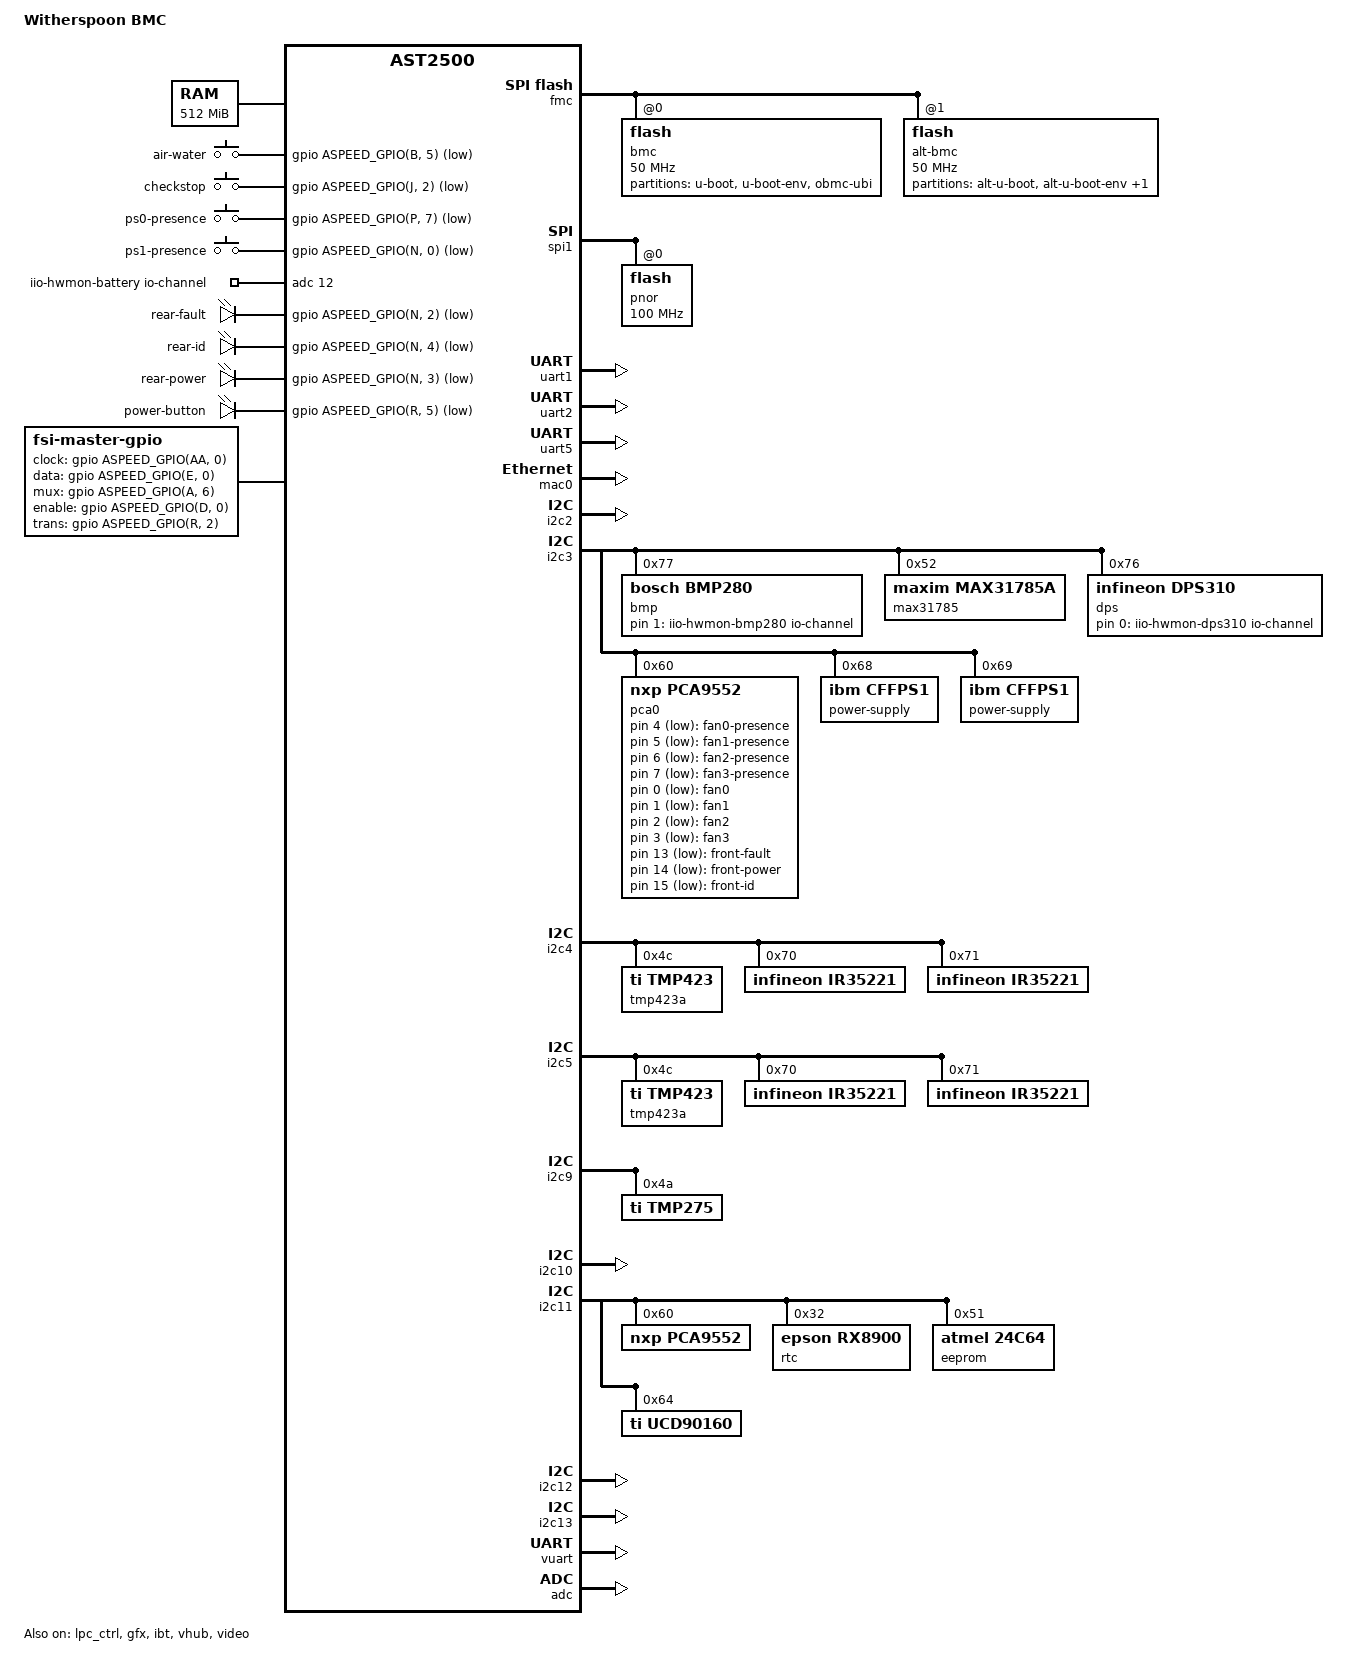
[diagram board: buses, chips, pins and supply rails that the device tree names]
// SPDX-License-Identifier: GPL-2.0+
/dts-v1/;
#include "aspeed-g5.dtsi"
#include <dt-bindings/gpio/aspeed-gpio.h>
#include <dt-bindings/leds/leds-pca955x.h>

/ {
	model = "Witherspoon BMC";
	compatible = "ibm,witherspoon-bmc", "aspeed,ast2500";

	chosen {
		stdout-path = &uart5;
		bootargs = "console=ttyS4,115200 earlyprintk";
	};

	memory@80000000 {
		reg = <0x80000000 0x20000000>;
	};

	reserved-memory {
		#address-cells = <1>;
		#size-cells = <1>;
		ranges;

		flash_memory: region@98000000 {
			no-map;
			reg = <0x98000000 0x04000000>; /* 64M */
		};

		gfx_memory: framebuffer {
			size = <0x01000000>;
			alignment = <0x01000000>;
			compatible = "shared-dma-pool";
			reusable;
		};

		video_engine_memory: jpegbuffer {
			size = <0x02000000>;	/* 32MM */
			alignment = <0x01000000>;
			compatible = "shared-dma-pool";
			reusable;
		};
	};

	gpio-keys {
		compatible = "gpio-keys";

		air-water {
			label = "air-water";
			gpios = <&gpio ASPEED_GPIO(B, 5) GPIO_ACTIVE_LOW>;
			linux,code = <ASPEED_GPIO(B, 5)>;
		};

		checkstop {
			label = "checkstop";
			gpios = <&gpio ASPEED_GPIO(J, 2) GPIO_ACTIVE_LOW>;
			linux,code = <ASPEED_GPIO(J, 2)>;
		};

		ps0-presence {
			label = "ps0-presence";
			gpios = <&gpio ASPEED_GPIO(P, 7) GPIO_ACTIVE_LOW>;
			linux,code = <ASPEED_GPIO(P, 7)>;
		};

		ps1-presence {
			label = "ps1-presence";
			gpios = <&gpio ASPEED_GPIO(N, 0) GPIO_ACTIVE_LOW>;
			linux,code = <ASPEED_GPIO(N, 0)>;
		};
	};

	iio-hwmon-battery {
		compatible = "iio-hwmon";
		io-channels = <&adc 12>;
	};

	gpio-keys-polled {
		compatible = "gpio-keys-polled";
		poll-interval = <1000>;

		fan0-presence {
			label = "fan0-presence";
			gpios = <&pca0 4 GPIO_ACTIVE_LOW>;
			linux,code = <4>;
		};

		fan1-presence {
			label = "fan1-presence";
			gpios = <&pca0 5 GPIO_ACTIVE_LOW>;
			linux,code = <5>;
		};

		fan2-presence {
			label = "fan2-presence";
			gpios = <&pca0 6 GPIO_ACTIVE_LOW>;
			linux,code = <6>;
		};

		fan3-presence {
			label = "fan3-presence";
			gpios = <&pca0 7 GPIO_ACTIVE_LOW>;
			linux,code = <7>;
		};
	};

	leds {
		compatible = "gpio-leds";

		fan0 {
			retain-state-shutdown;
			default-state = "keep";
			gpios = <&pca0 0 GPIO_ACTIVE_LOW>;
		};

		fan1 {
			retain-state-shutdown;
			default-state = "keep";
			gpios = <&pca0 1 GPIO_ACTIVE_LOW>;
		};

		fan2 {
			retain-state-shutdown;
			default-state = "keep";
			gpios = <&pca0 2 GPIO_ACTIVE_LOW>;
		};

		fan3 {
			retain-state-shutdown;
			default-state = "keep";
			gpios = <&pca0 3 GPIO_ACTIVE_LOW>;
		};

		front-fault {
			retain-state-shutdown;
			default-state = "keep";
			gpios = <&pca0 13 GPIO_ACTIVE_LOW>;
		};

		front-power {
			retain-state-shutdown;
			default-state = "keep";
			gpios = <&pca0 14 GPIO_ACTIVE_LOW>;
		};

		front-id {
			retain-state-shutdown;
			default-state = "keep";
			gpios = <&pca0 15 GPIO_ACTIVE_LOW>;
		};

		rear-fault {
			gpios = <&gpio ASPEED_GPIO(N, 2) GPIO_ACTIVE_LOW>;
		};

		rear-id {
			gpios = <&gpio ASPEED_GPIO(N, 4) GPIO_ACTIVE_LOW>;
		};

		rear-power {
			gpios = <&gpio ASPEED_GPIO(N, 3) GPIO_ACTIVE_LOW>;
		};

		power-button {
			gpios = <&gpio ASPEED_GPIO(R, 5) GPIO_ACTIVE_LOW>;
		};
	};

	fsi: gpio-fsi {
		compatible = "fsi-master-gpio", "fsi-master";
		#address-cells = <2>;
		#size-cells = <0>;
		no-gpio-delays;

		clock-gpios = <&gpio ASPEED_GPIO(AA, 0) GPIO_ACTIVE_HIGH>;
		data-gpios = <&gpio ASPEED_GPIO(E, 0) GPIO_ACTIVE_HIGH>;
		mux-gpios = <&gpio ASPEED_GPIO(A, 6) GPIO_ACTIVE_HIGH>;
		enable-gpios = <&gpio ASPEED_GPIO(D, 0) GPIO_ACTIVE_HIGH>;
		trans-gpios = <&gpio ASPEED_GPIO(R, 2) GPIO_ACTIVE_HIGH>;
	};

	iio-hwmon-dps310 {
		compatible = "iio-hwmon";
		io-channels = <&dps 0>;
	};

	iio-hwmon-bmp280 {
		compatible = "iio-hwmon";
		io-channels = <&bmp 1>;
	};

};

&fmc {
	status = "okay";

	flash@0 {
		status = "okay";
		label = "bmc";
		m25p,fast-read;
		spi-max-frequency = <50000000>;

		partitions {
			#address-cells = < 1 >;
			#size-cells = < 1 >;
			compatible = "fixed-partitions";
			u-boot@0 {
				reg = < 0 0x60000 >;
				label = "u-boot";
			};
			u-boot-env@60000 {
				reg = < 0x60000 0x20000 >;
				label = "u-boot-env";
			};
			obmc-ubi@80000 {
				reg = < 0x80000 0x1F80000 >;
				label = "obmc-ubi";
			};
		};
	};

	flash@1 {
		status = "okay";
		label = "alt-bmc";
		m25p,fast-read;
		spi-max-frequency = <50000000>;

		partitions {
			#address-cells = < 1 >;
			#size-cells = < 1 >;
			compatible = "fixed-partitions";
			u-boot@0 {
				reg = < 0 0x60000 >;
				label = "alt-u-boot";
			};
			u-boot-env@60000 {
				reg = < 0x60000 0x20000 >;
				label = "alt-u-boot-env";
			};
			obmc-ubi@80000 {
				reg = < 0x80000 0x1F80000 >;
				label = "alt-obmc-ubi";
			};
		};
	};
};

&spi1 {
	status = "okay";
	pinctrl-names = "default";
	pinctrl-0 = <&pinctrl_spi1_default>;

	flash@0 {
		status = "okay";
		label = "pnor";
		m25p,fast-read;
		spi-max-frequency = <100000000>;
	};
};

&uart1 {
	/* Rear RS-232 connector */
	status = "okay";
	pinctrl-names = "default";
	pinctrl-0 = <&pinctrl_txd1_default
			&pinctrl_rxd1_default
			&pinctrl_nrts1_default
			&pinctrl_ndtr1_default
			&pinctrl_ndsr1_default
			&pinctrl_ncts1_default
			&pinctrl_ndcd1_default
			&pinctrl_nri1_default>;
};

&uart2 {
	/* APSS */
	status = "okay";
	pinctrl-names = "default";
	pinctrl-0 = <&pinctrl_txd2_default &pinctrl_rxd2_default>;
};

&uart5 {
	status = "okay";
};

&lpc_ctrl {
	status = "okay";
	memory-region = <&flash_memory>;
	flash = <&spi1>;
};

&mac0 {
	status = "okay";
	pinctrl-names = "default";
	pinctrl-0 = <&pinctrl_rmii1_default>;
	clocks = <&syscon ASPEED_CLK_GATE_MAC1CLK>,
		 <&syscon ASPEED_CLK_MAC1RCLK>;
	clock-names = "MACCLK", "RCLK";
	use-ncsi;
};

&i2c2 {
	status = "okay";

	/* MUX ->
	 *    Samtec 1
	 *    Samtec 2
	 */
};

&i2c3 {
	status = "okay";

	bmp: bmp280@77 {
		compatible = "bosch,bmp280";
		reg = <0x77>;
		#io-channel-cells = <1>;
	};

	max31785@52 {
		compatible = "maxim,max31785a";
		reg = <0x52>;
		#address-cells = <1>;
		#size-cells = <0>;
	};

	dps: dps310@76 {
		compatible = "infineon,dps310";
		reg = <0x76>;
		#io-channel-cells = <0>;
	};

	pca0: pca9552@60 {
		compatible = "nxp,pca9552";
		reg = <0x60>;
		#address-cells = <1>;
		#size-cells = <0>;

		gpio-controller;
		#gpio-cells = <2>;

		gpio@0 {
			reg = <0>;
			type = <PCA955X_TYPE_GPIO>;
		};

		gpio@1 {
			reg = <1>;
			type = <PCA955X_TYPE_GPIO>;
		};

		gpio@2 {
			reg = <2>;
			type = <PCA955X_TYPE_GPIO>;
		};

		gpio@3 {
			reg = <3>;
			type = <PCA955X_TYPE_GPIO>;
		};

		gpio@4 {
			reg = <4>;
			type = <PCA955X_TYPE_GPIO>;
		};

		gpio@5 {
			reg = <5>;
			type = <PCA955X_TYPE_GPIO>;
		};

		gpio@6 {
			reg = <6>;
			type = <PCA955X_TYPE_GPIO>;
		};

		gpio@7 {
			reg = <7>;
			type = <PCA955X_TYPE_GPIO>;
		};

		gpio@8 {
			reg = <8>;
			type = <PCA955X_TYPE_GPIO>;
		};

		gpio@9 {
			reg = <9>;
			type = <PCA955X_TYPE_GPIO>;
		};

		gpio@10 {
			reg = <10>;
			type = <PCA955X_TYPE_GPIO>;
		};

		gpio@11 {
			reg = <11>;
			type = <PCA955X_TYPE_GPIO>;
		};

		gpio@12 {
			reg = <12>;
			type = <PCA955X_TYPE_GPIO>;
		};

		gpio@13 {
			reg = <13>;
			type = <PCA955X_TYPE_GPIO>;
		};

		gpio@14 {
			reg = <14>;
			type = <PCA955X_TYPE_GPIO>;
		};

		gpio@15 {
			reg = <15>;
			type = <PCA955X_TYPE_GPIO>;
		};
	};

	power-supply@68 {
		compatible = "ibm,cffps1";
		reg = <0x68>;
	};

	power-supply@69 {
		compatible = "ibm,cffps1";
		reg = <0x69>;
	};
};

&i2c4 {
	status = "okay";

	tmp423a@4c {
		compatible = "ti,tmp423";
		reg = <0x4c>;
	};

	ir35221@70 {
		compatible = "infineon,ir35221";
		reg = <0x70>;
	};

	ir35221@71 {
		compatible = "infineon,ir35221";
		reg = <0x71>;
	};
};


&i2c5 {
	status = "okay";

	tmp423a@4c {
		compatible = "ti,tmp423";
		reg = <0x4c>;
	};

	ir35221@70 {
		compatible = "infineon,ir35221";
		reg = <0x70>;
	};

	ir35221@71 {
		compatible = "infineon,ir35221";
		reg = <0x71>;
	};
};

&i2c9 {
	status = "okay";

	tmp275@4a {
		compatible = "ti,tmp275";
		reg = <0x4a>;
	};
};

&i2c10 {
	/* MUX
	 *   -> PCIe Slot 3
	 *   -> PCIe Slot 4
	 */
	status = "okay";
};

&i2c11 {
	status = "okay";

	pca9552: pca9552@60 {
		compatible = "nxp,pca9552";
		reg = <0x60>;
		#address-cells = <1>;
		#size-cells = <0>;
		gpio-controller;
		#gpio-cells = <2>;

		gpio-line-names = "PS_SMBUS_RESET_N", "APSS_RESET_N",
			"GPU0_TH_OVERT_N_BUFF",	"GPU1_TH_OVERT_N_BUFF",
			"GPU2_TH_OVERT_N_BUFF", "GPU3_TH_OVERT_N_BUFF",
			"GPU4_TH_OVERT_N_BUFF",	"GPU5_TH_OVERT_N_BUFF",
			"GPU0_PWR_GOOD_BUFF", "GPU1_PWR_GOOD_BUFF",
			"GPU2_PWR_GOOD_BUFF", "GPU3_PWR_GOOD_BUFF",
			"GPU4_PWR_GOOD_BUFF", "GPU5_PWR_GOOD_BUFF",
			"12V_BREAKER_FLT_N", "THROTTLE_UNLATCHED_N";

		gpio@0 {
			reg = <0>;
			type = <PCA955X_TYPE_GPIO>;
		};

		gpio@1 {
			reg = <1>;
			type = <PCA955X_TYPE_GPIO>;
		};

		gpio@2 {
			reg = <2>;
			type = <PCA955X_TYPE_GPIO>;
		};

		gpio@3 {
			reg = <3>;
			type = <PCA955X_TYPE_GPIO>;
		};

		gpio@4 {
			reg = <4>;
			type = <PCA955X_TYPE_GPIO>;
		};

		gpio@5 {
			reg = <5>;
			type = <PCA955X_TYPE_GPIO>;
		};

		gpio@6 {
			reg = <6>;
			type = <PCA955X_TYPE_GPIO>;
		};

		gpio@7 {
			reg = <7>;
			type = <PCA955X_TYPE_GPIO>;
		};

		gpio@8 {
			reg = <8>;
			type = <PCA955X_TYPE_GPIO>;
		};

		gpio@9 {
			reg = <9>;
			type = <PCA955X_TYPE_GPIO>;
		};

		gpio@10 {
			reg = <10>;
			type = <PCA955X_TYPE_GPIO>;
		};

		gpio@11 {
			reg = <11>;
			type = <PCA955X_TYPE_GPIO>;
		};

		gpio@12 {
			reg = <12>;
			type = <PCA955X_TYPE_GPIO>;
		};

		gpio@13 {
			reg = <13>;
			type = <PCA955X_TYPE_GPIO>;
		};

		gpio@14 {
			reg = <14>;
			type = <PCA955X_TYPE_GPIO>;
		};

		gpio@15 {
			reg = <15>;
			type = <PCA955X_TYPE_GPIO>;
		};
	};

	rtc@32 {
		compatible = "epson,rx8900";
		reg = <0x32>;
	};

	eeprom@51 {
		compatible = "atmel,24c64";
		reg = <0x51>;
	};

	ucd90160@64 {
		compatible = "ti,ucd90160";
		reg = <0x64>;
	};
};

&i2c12 {
	status = "okay";
};

&i2c13 {
	status = "okay";
};

&vuart {
	status = "okay";
};

&gfx {
	status = "okay";
	memory-region = <&gfx_memory>;
};

&pinctrl {
	aspeed,external-nodes = <&gfx &lhc>;
};

&wdt1 {
	aspeed,reset-type = "none";
	aspeed,external-signal;
	aspeed,ext-push-pull;
	aspeed,ext-active-high;

	pinctrl-names = "default";
	pinctrl-0 = <&pinctrl_wdtrst1_default>;
};

&wdt2 {
	aspeed,alt-boot;
};

&ibt {
	status = "okay";
};

&adc {
	status = "okay";
};

&vhub {
	status = "okay";
};

&video {
	status = "okay";
	memory-region = <&video_engine_memory>;
};

#include "ibm-power9-dual.dtsi"
